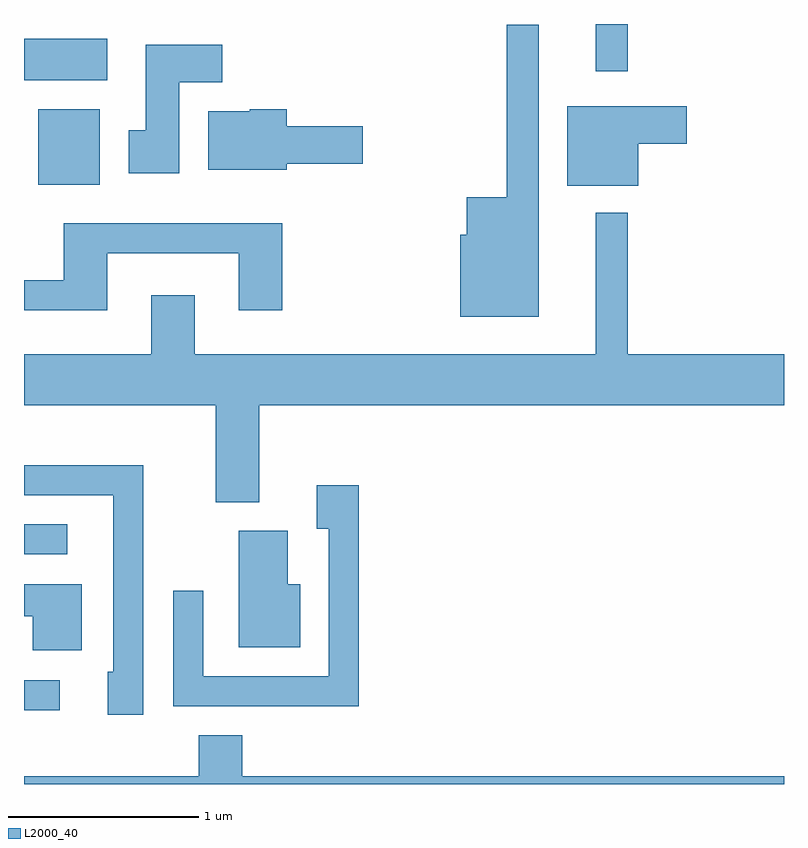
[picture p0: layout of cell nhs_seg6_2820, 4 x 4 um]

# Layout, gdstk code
import gdstk
lib = gdstk.Library(unit=1e-6, precision=1e-09)
def R(c, l, rs):  # rectangles x0, y0, x1, y1
    for r in rs: c.add(gdstk.rectangle(r[:2], r[2:], *l))
def P(c, l, *ps):  # polygons
    for p in ps: c.add(gdstk.Polygon(p, *l))
L2000_40 = (2000, 40)

nhs_seg6_2820 = lib.new_cell('nhs_seg6_2820')
R(nhs_seg6_2820, L2000_40, [(269.611,1650.551,269.798,1650.709), (269.611,1651.371,269.838,1651.529), (269.686,1653.316,270.009,1653.714), (269.611,1653.866,270.049,1654.084), (272.621,1653.913,272.789,1654.162)])
P(nhs_seg6_2820, L2000_40, [(272.319,1654.158),(272.151,1654.158),(272.151,1653.249),(271.941,1653.249),(271.941,1653.054),(271.906,1653.054),(271.906,1652.621),(272.319,1652.621)],
  [(270.429,1653.856),(270.654,1653.856),(270.654,1654.054),(270.251,1654.054),(270.251,1653.604),(270.161,1653.604),(270.161,1653.376),(270.429,1653.376)],
  [(272.844,1653.531),(273.099,1653.531),(273.099,1653.729),(272.471,1653.729),(272.471,1653.311),(272.844,1653.311)],
  [(270.994,1653.426),(271.394,1653.426),(271.394,1653.624),(270.994,1653.624),(270.994,1653.714),(270.8,1653.714),(270.8,1653.704),(270.581,1653.704),(270.581,1653.396),(270.994,1653.396)],
  [(270.509,1652.734),(270.281,1652.734),(270.281,1652.424),(269.611,1652.424),(269.611,1652.156),(270.621,1652.156),(270.621,1651.646),(270.849,1651.646),(270.849,1652.156),(273.611,1652.156),(273.611,1652.424),(272.789,1652.424),(272.789,1653.168),(272.621,1653.168),(272.621,1652.424),(270.509,1652.424)],
  [(270.049,1652.956),(270.741,1652.956),(270.741,1652.656),(270.969,1652.656),(270.969,1653.114),(269.821,1653.114),(269.821,1652.814),(269.611,1652.814),(269.611,1652.656),(270.049,1652.656)],
  [(270.239,1651.839),(269.611,1651.839),(269.611,1651.681),(270.081,1651.681),(270.081,1650.754),(270.051,1650.754),(270.051,1650.526),(270.239,1650.526)],
  [(271.374,1651.734),(271.151,1651.734),(271.151,1651.506),(271.216,1651.506),(271.216,1650.729),(270.554,1650.729),(270.554,1651.178),(270.396,1651.178),(270.396,1650.571),(271.374,1650.571)],
  [(271.064,1651.214),(270.999,1651.214),(270.999,1651.494),(270.741,1651.494),(270.741,1650.881),(271.064,1650.881)],
  [(269.914,1651.214),(269.611,1651.214),(269.611,1651.046),(269.656,1651.046),(269.656,1650.866),(269.914,1650.866)],
  [(273.611,1650.204),(270.759,1650.204),(270.759,1650.419),(270.531,1650.419),(270.531,1650.204),(269.611,1650.204),(269.611,1650.162),(273.611,1650.162)])

lib.write_gds('nhs_seg6_2820.gds')
